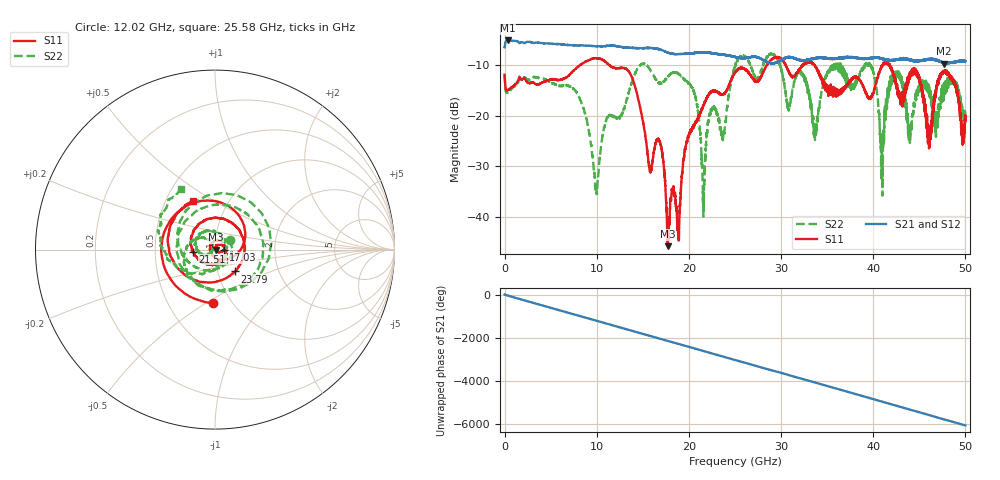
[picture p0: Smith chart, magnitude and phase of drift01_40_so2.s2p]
!Created with skrf (http://scikit-rf.org).
# Hz S RI R 50.0
!freq ReS11 ImS11 ReS21 ImS21 ReS12 ImS12 ReS22 ImS22
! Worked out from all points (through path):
!   10001 points, 300 kHz to 50 GHz, reference 50 ohm
!   highest |S21| = -5.06 dB at 325.3 MHz (marker M1); lowest = -9.6 dB at 47.67 GHz (marker M2)
!   group delay of S21, straight-line fit = 336 ps
!   lowest |S11| = -45.8 dB at 17.71 GHz (marker M3), VSWR 1.01, Z = 50.5 - j0.0872 ohm
!   |S11| at or under -10 dB: start of sweep to 8.154 GHz; 11.41 GHz to 28.43 GHz (17.02 GHz wide, 85.5 % of centre); 41.79 GHz to end of sweep (the widest 3 of 10)
!   |S22| runs from -40.0 to -7.7 dB; largest |S21 - S12| = 0.012
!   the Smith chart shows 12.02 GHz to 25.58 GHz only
!   S11 on the Smith chart (normalised r, x): 12.02 GHz: 0.82, -0.53; 17.03 GHz: 1.10, -0.00; 21.51 GHz: 0.78, -0.02; 23.79 GHz: 1.21, -0.30; 25.58 GHz: 0.68, +0.41
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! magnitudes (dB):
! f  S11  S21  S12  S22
! 300 kHz  -11.8  -6.5  -6.5  -11.8
! 325.3 MHz  -15.0  -5.1  -5.1  -15.4
! 8.335 GHz  -9.8  -6.0  -6.0  -17.5
! 9.94 GHz  -8.6  -6.2  -6.2  -34.8
! 12.02 GHz  -10.5  -6.2  -6.1  -20.4
! 15.78 GHz  -31.0  -6.5  -6.5  -10.8
! 16.67 GHz  -24.6  -6.8  -6.8  -13.4
! 17.03 GHz  -26.5  -7.0  -6.9  -13.6
! 17.71 GHz  -45.8  -7.4  -7.4  -12.2
! 20.5 GHz  -22.1  -7.6  -7.6  -15.0
! 21.51 GHz  -18.2  -7.4  -7.4  -35.2
! 22.45 GHz  -15.1  -7.6  -7.5  -18.8
! 23.79 GHz  -15.7  -7.9  -7.9  -23.3
! 25 GHz  -11.4  -8.3  -8.4  -10.4
! 25.58 GHz  -10.5  -8.5  -8.6  -8.2
! 33.34 GHz  -9.5  -8.7  -8.7  -19.2
! 39.48 GHz  -16.4  -8.6  -8.6  -10.0
! 40.95 GHz  -10.1  -8.6  -8.6  -28.3
! 41.67 GHz  -9.8  -8.8  -9.0  -15.4
! 46.1 GHz  -25.4  -8.8  -8.8  -15.4
! 47.67 GHz  -11.4  -9.6  -9.5  -14.3
! 50 GHz  -20.6  -9.2  -9.1  -20.1
